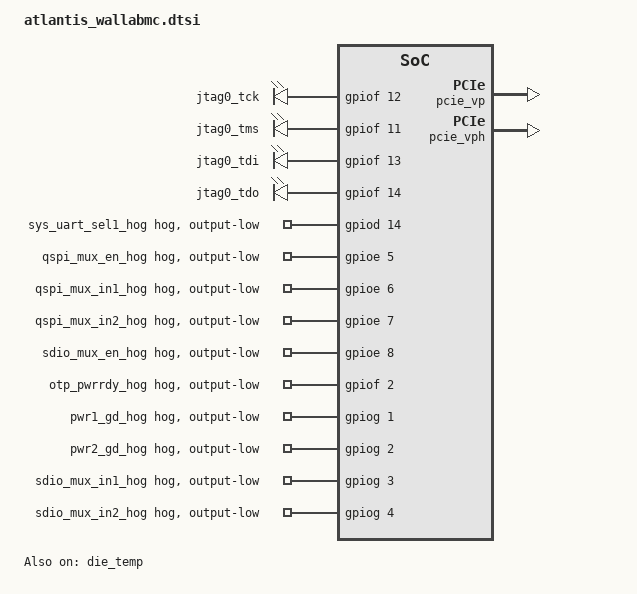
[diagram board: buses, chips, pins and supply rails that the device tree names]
// WallaBMC configuration shared by the Atlantis SLT and EVB MCU boards

/*
 * No-access MPU placeholder over the QSPI memory-mapped window. The QSPI
 * driver does not use it; deleting it frees an MPU region.
 */
/delete-node/ &quadspi_memory;

/ {
	chosen {
		zephyr,code-partition = &slot0_partition;
	};

	/* RCPU JTAG, reaches the SoC when SYS_JTAG0_SEL1:SEL0 = 01 */
	jtag {
		// What is a better setting for this?
		compatible = "gpio-leds";

		jtag0_tck: jtag0_tck {
			gpios = <&gpiof 12 GPIO_ACTIVE_HIGH>;
		};
		jtag0_tms: jtag0_tms {
			gpios = <&gpiof 11 GPIO_ACTIVE_HIGH>;
		};
		jtag0_tdi: jtag0_tdi {
			gpios = <&gpiof 13 GPIO_ACTIVE_HIGH>;
		};
		jtag0_tdo: jtag0_tdo {
			gpios = <&gpiof 14 GPIO_PULL_UP>;
		};
	};

	/*
	 * Host power rails common to both boards. Each board adds its first
	 * rail (the EVB also its M.2 slot) and lists the order in its
	 * power-sequencer node. The SoC specifies no delays between rails:
	 * the settle times are the firmware's choice, covering the soft-start
	 * of the regulators that have no power-good input, and are not yet
	 * verified on hardware.
	 */
	power_rails: power-rails {
		/*
		 * PG_PH1 is the power good of the primary TPS546E25 and gates
		 * VCORE. An LED on the net holds its high level at about 2 V,
		 * which the MCU is not guaranteed to read as high and is not
		 * yet measured (see Known issues in doc/hardware.rst). PG_PH2,
		 * from the secondary of the stacked pair, is not used.
		 */
		vcore_0v8: vcore_0v8 {
			compatible = "wallabmc,power-rail";
			enable = <&vcore_0v8_en>;
			power-good = <&pg_ph1>;
		};
		mpm54304: mpm54304 {
			compatible = "wallabmc,power-rail";
			enable = <&mpm54304_en>;
			power-good = <&mpm54304_gpio>;
		};
		ddr_vdd: ddr_vdd {
			compatible = "wallabmc,power-rail";
			enable = <&ddr_vdd_en>;
			power-good = <&pwr_good_lpddr5>;
		};
		ddr_vdd2l: ddr_vdd2l {
			compatible = "wallabmc,power-rail";
			enable = <&ddr_vdd2l_en>;
			power-good = <&pwr_good_0v9>;
		};
		ddr_vddq: ddr_vddq {
			compatible = "wallabmc,power-rail";
			enable = <&ddr_vddq_en>;
			settle-ms = <1>;
		};
		pcie_vp: pcie_vp {
			compatible = "wallabmc,power-rail";
			enable = <&pcie_vp_en>;
			settle-ms = <5>;
		};
		pcie_vph: pcie_vph {
			compatible = "wallabmc,power-rail";
			enable = <&pcie_vph_en>;
			settle-ms = <5>;
		};
		/* Handshakes to the SoC, driven once every rail is up */
		pwr1_gd: pwr1_gd {
			compatible = "wallabmc,power-rail";
			enable = <&pwr1_gd_out>;
		};
		pwr2_gd: pwr2_gd {
			compatible = "wallabmc,power-rail";
			enable = <&pwr2_gd_out>;
		};
		otp_pwrrdy: otp_pwrrdy {
			compatible = "wallabmc,power-rail";
			enable = <&otp_pwrrdy_out>;
		};
	};

	aliases {
		jtagtck = &jtag0_tck;
		jtagtms = &jtag0_tms;
		jtagtdi = &jtag0_tdi;
		jtagtdo = &jtag0_tdo;

		reset-gpio-1 = &sys_rstn;
		status-led = &green_led;

		reset-button = &user_button;
		host-console-uart = &usart2;
		host-console-uart-muxsel = &sys_uart_sel0;
	};
};

/*
 * Fixed defaults. SYS_UART_SEL1 low so that SEL0 alone picks the FT4232
 * (0) or the MCU (1) for SoC UART0/UART1. The boot flash and SD slot S2
 * muxes power up isolated; give both to the SoC. The SoC handshakes
 * (OTP_PWRRDY, PWR1_GD, PWR2_GD) must stay low until a power sequencer
 * knows the rails are good.
 */
&gpiod {
	sys_uart_sel1_hog: sys_uart_sel1_hog {
		gpio-hog;
		gpios = <14 GPIO_ACTIVE_HIGH>;
		output-low;
	};
};

&gpioe {
	qspi_mux_en_hog: qspi_mux_en_hog {
		gpio-hog;
		gpios = <5 GPIO_ACTIVE_HIGH>;
		output-low;
	};
	qspi_mux_in1_hog: qspi_mux_in1_hog {
		gpio-hog;
		gpios = <6 GPIO_ACTIVE_HIGH>;
		output-low;
	};
	qspi_mux_in2_hog: qspi_mux_in2_hog {
		gpio-hog;
		gpios = <7 GPIO_ACTIVE_HIGH>;
		output-low;
	};
	sdio_mux_en_hog: sdio_mux_en_hog {
		gpio-hog;
		gpios = <8 GPIO_ACTIVE_HIGH>;
		output-low;
	};
};

&gpiof {
	otp_pwrrdy_hog: otp_pwrrdy_hog {
		gpio-hog;
		gpios = <2 GPIO_ACTIVE_HIGH>;
		output-low;
	};
};

&gpiog {
	pwr1_gd_hog: pwr1_gd_hog {
		gpio-hog;
		gpios = <1 GPIO_ACTIVE_HIGH>;
		output-low;
	};
	pwr2_gd_hog: pwr2_gd_hog {
		gpio-hog;
		gpios = <2 GPIO_ACTIVE_HIGH>;
		output-low;
	};
	sdio_mux_in1_hog: sdio_mux_in1_hog {
		gpio-hog;
		gpios = <3 GPIO_ACTIVE_HIGH>;
		output-low;
	};
	sdio_mux_in2_hog: sdio_mux_in2_hog {
		gpio-hog;
		gpios = <4 GPIO_ACTIVE_HIGH>;
		output-low;
	};
};

&die_temp {
	status = "okay";
};

/*
 * The nucleo_f767zi atlantis variant copies this layout. Make the same
 * change in boards/nucleo_f767zi_atlantis.overlay; see
 * boards/nucleo_f767zi_atlantis.md, which also explains that sector 4 is
 * unused for no technical reason.
 */
&flash0 {
	partitions {
		compatible = "fixed-partitions";
		#address-cells = <1>;
		#size-cells = <1>;

		/* Sectors 0-1 (2*32 kbytes) for mcuboot */
		boot_partition: partition@0 {
			label = "mcuboot";
			reg = <0x00000000 DT_SIZE_K(64)>;
		};

		/* Sectors 2-3 (2*32 kbytes) for NVS storage */
		storage_partition: partition@10000 {
			label = "storage";
			reg = <0x00010000 DT_SIZE_K(64)>;
		};

		/* Sector 4 (128 kbytes) unallocated */

		/* Sectors 5-7 (3*256 kbytes) for the application image */
		slot0_partition: partition@40000 {
			label = "image-0";
			reg = <0x00040000 DT_SIZE_K(768)>;
		};
	};
};
